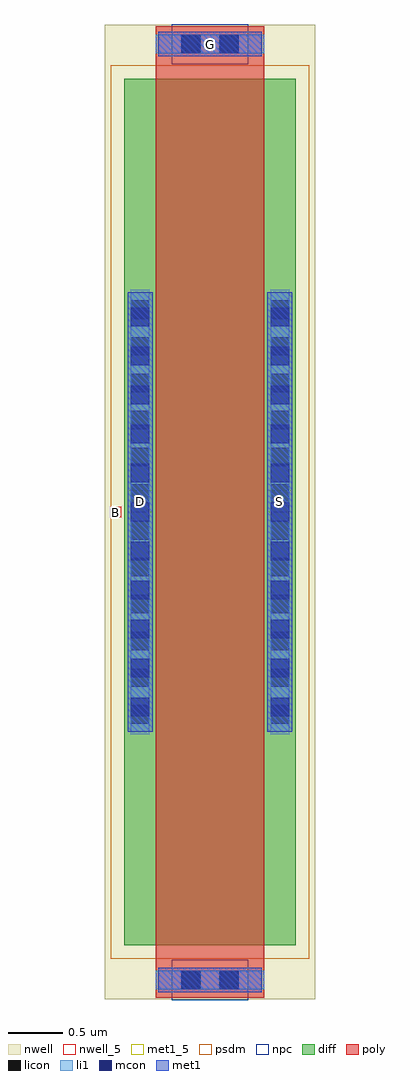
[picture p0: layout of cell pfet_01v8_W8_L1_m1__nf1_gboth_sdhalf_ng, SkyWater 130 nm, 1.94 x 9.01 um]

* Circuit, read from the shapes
.subckt pfet_01v8_W8_L1_m1__nf1_gboth_sdhalf_ng B D G S
XM1 S G D B sky130_fd_pr__pfet_01v8 w=8 l=1
.ends

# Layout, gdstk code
import gdstk
lib = gdstk.Library(unit=1e-6, precision=1e-09)
def R(c, l, rs):  # rectangles x0, y0, x1, y1
    for r in rs: c.add(gdstk.rectangle(r[:2], r[2:], *l))
def A(c, l, x, y, w, h, nx, ny, dx, dy):  # array of equal rectangles
    R(c, l, [(x+i*dx, y+j*dy, x+i*dx+w, y+j*dy+h) for i in range(nx) for j in range(ny)])
nwell_5 = (64, 5)
nwell = (64, 20)
diff = (65, 20)
poly = (66, 20)
licon = (66, 44)
li1 = (67, 20)
mcon = (67, 44)
met1_5 = (68, 5)
met1 = (68, 20)
psdm = (94, 20)
npc = (95, 20)

sky130_fd_pr__pfet_01v8_ = lib.new_cell('sky130_fd_pr__pfet_01v8_8RQ7R5')
R(sky130_fd_pr__pfet_01v8_, nwell, [(-0.97,-4.5,0.97,4.5)])
R(sky130_fd_pr__pfet_01v8_, diff, [(-0.79,-4,0.79,4)])
R(sky130_fd_pr__pfet_01v8_, poly, [(-0.5,-4.485,0.5,4.485)])
A(sky130_fd_pr__pfet_01v8_, licon, -0.73, -1.955, 0.17, 0.17, 1, 12, 0, 0.34)
A(sky130_fd_pr__pfet_01v8_, licon, 0.56, -1.955, 0.17, 0.17, 1, 12, 0, 0.34)
R(sky130_fd_pr__pfet_01v8_, licon, [(-0.255,-4.405,-0.085,-4.235), (0.085,-4.405,0.255,-4.235), (-0.255,4.235,-0.085,4.405), (0.085,4.235,0.255,4.405)])
R(sky130_fd_pr__pfet_01v8_, li1, [(-0.5,-4.405,0.5,-4.235), (-0.73,-2.05,-0.56,2.05), (0.56,-2.05,0.73,2.05), (-0.5,4.235,0.5,4.405)])
A(sky130_fd_pr__pfet_01v8_, mcon, -0.73, -1.885, 0.17, 0.17, 1, 11, 0, 0.36)
A(sky130_fd_pr__pfet_01v8_, mcon, 0.56, -1.885, 0.17, 0.17, 1, 11, 0, 0.36)
R(sky130_fd_pr__pfet_01v8_, mcon, [(-0.265,-4.405,-0.095,-4.235), (0.095,-4.405,0.265,-4.235), (-0.265,4.235,-0.095,4.405), (0.095,4.235,0.265,4.405)])
R(sky130_fd_pr__pfet_01v8_, met1, [(-0.48,-4.435,0.48,-4.205), (-0.76,-2.03,-0.53,2.03), (0.53,-2.03,0.76,2.03), (-0.48,4.205,0.48,4.435)])
R(sky130_fd_pr__pfet_01v8_, psdm, [(-0.915,-4.125,0.915,4.125)])
R(sky130_fd_pr__pfet_01v8_, npc, [(-0.355,-4.505,0.355,-4.135), (-0.355,4.135,0.355,4.505)])
sky130_fd_pr__pfet_01v8_.add(gdstk.Label('D', (-0.645,0), layer=67, texttype=5))
sky130_fd_pr__pfet_01v8_.add(gdstk.Label('S', (0.645,0), layer=67, texttype=5))
sky130_fd_pr__pfet_01v8_.add(gdstk.Label('G', (0,4.32), layer=67, texttype=5))

pfet_01v8_w8_l1_m1__nf1_ = lib.new_cell('pfet_01v8_W8_L1_m1__nf1_gboth_sdhalf_ng')
R(pfet_01v8_w8_l1_m1__nf1_, nwell_5, [(0.05,4.45,0.15,4.55)])
R(pfet_01v8_w8_l1_m1__nf1_, nwell, [(0.05,4.45,0.15,4.55)])
R(pfet_01v8_w8_l1_m1__nf1_, met1_5, [(0.21,4.5,0.44,4.7), (1.5,4.5,1.73,4.7), (0.49,8.705,1.45,8.935)])
R(pfet_01v8_w8_l1_m1__nf1_, met1, [(0.21,4.5,0.44,4.7), (1.5,4.5,1.73,4.7), (0.49,8.705,1.45,8.935)])
pfet_01v8_w8_l1_m1__nf1_.add(gdstk.Reference(sky130_fd_pr__pfet_01v8_, (0.97,4.5)))
pfet_01v8_w8_l1_m1__nf1_.add(gdstk.Label('D', (0.325,4.6), layer=68, texttype=5))
pfet_01v8_w8_l1_m1__nf1_.add(gdstk.Label('S', (1.615,4.6), layer=68, texttype=5))
pfet_01v8_w8_l1_m1__nf1_.add(gdstk.Label('G', (0.97,8.82), layer=68, texttype=5))
pfet_01v8_w8_l1_m1__nf1_.add(gdstk.Label('B', (0.1,4.5), layer=64, texttype=5))

lib.write_gds('pfet_01v8_W8_L1_m1__nf1_gboth_sdhalf_ng.gds')
